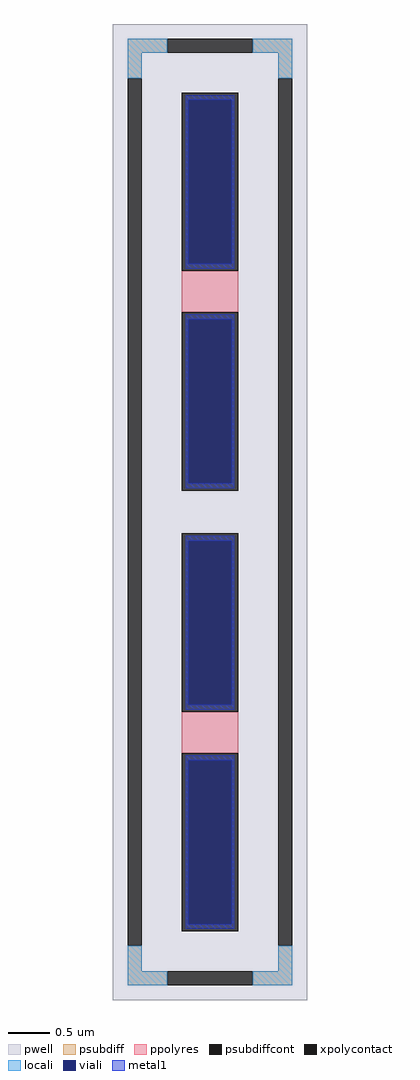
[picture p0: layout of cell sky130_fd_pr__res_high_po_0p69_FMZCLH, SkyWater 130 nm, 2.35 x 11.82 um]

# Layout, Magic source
magic
tech sky130A
magscale 1 2
<< pwell >>
rect -235 -1182 235 1182
<< psubdiff >>
rect -199 1112 -103 1146
rect 103 1112 199 1146
rect -199 1050 -165 1112
rect 165 1050 199 1112
rect -199 -1112 -165 -1050
rect 165 -1112 199 -1050
rect -199 -1146 -103 -1112
rect 103 -1146 199 -1112
<< psubdiffcont >>
rect -103 1112 103 1146
rect -199 -1050 -165 1050
rect 165 -1050 199 1050
rect -103 -1146 103 -1112
<< xpolycontact >>
rect -69 584 69 1016
rect -69 52 69 484
rect -69 -484 69 -52
rect -69 -1016 69 -584
<< ppolyres >>
rect -69 484 69 584
rect -69 -584 69 -484
<< locali >>
rect -199 1112 -103 1146
rect 103 1112 199 1146
rect -199 1050 -165 1112
rect 165 1050 199 1112
rect -199 -1112 -165 -1050
rect 165 -1112 199 -1050
rect -199 -1146 -103 -1112
rect 103 -1146 199 -1112
<< viali >>
rect -53 601 53 998
rect -53 70 53 467
rect -53 -467 53 -70
rect -53 -998 53 -601
<< metal1 >>
rect -59 998 59 1010
rect -59 601 -53 998
rect 53 601 59 998
rect -59 589 59 601
rect -59 467 59 479
rect -59 70 -53 467
rect 53 70 59 467
rect -59 58 59 70
rect -59 -70 59 -58
rect -59 -467 -53 -70
rect 53 -467 59 -70
rect -59 -479 59 -467
rect -59 -601 59 -589
rect -59 -998 -53 -601
rect 53 -998 59 -601
rect -59 -1010 59 -998
<< properties >>
string FIXED_BBOX -182 -1129 182 1129
string gencell sky130_fd_pr__res_high_po_0p69
string library sky130
string parameters w 0.690 l 0.50 m 2 nx 1 wmin 0.690 lmin 0.50 rho 319.8 val 796.434 dummy 0 dw 0.0 term 194.82 sterm 0.0 caplen 0 guard 1 glc 1 grc 1 gtc 1 gbc 1 compatible {sky130_fd_pr__res_high_po_0p35  sky130_fd_pr__res_high_po_0p69 sky130_fd_pr__res_high_po_1p41  sky130_fd_pr__res_high_po_2p85 sky130_fd_pr__res_high_po_5p73} snake 0 full_metal 1 wmax 0.690 n_guard 0 hv_guard 0 vias 1 viagb 0 viagt 0 viagl 0 viagr 0
<< end >>
